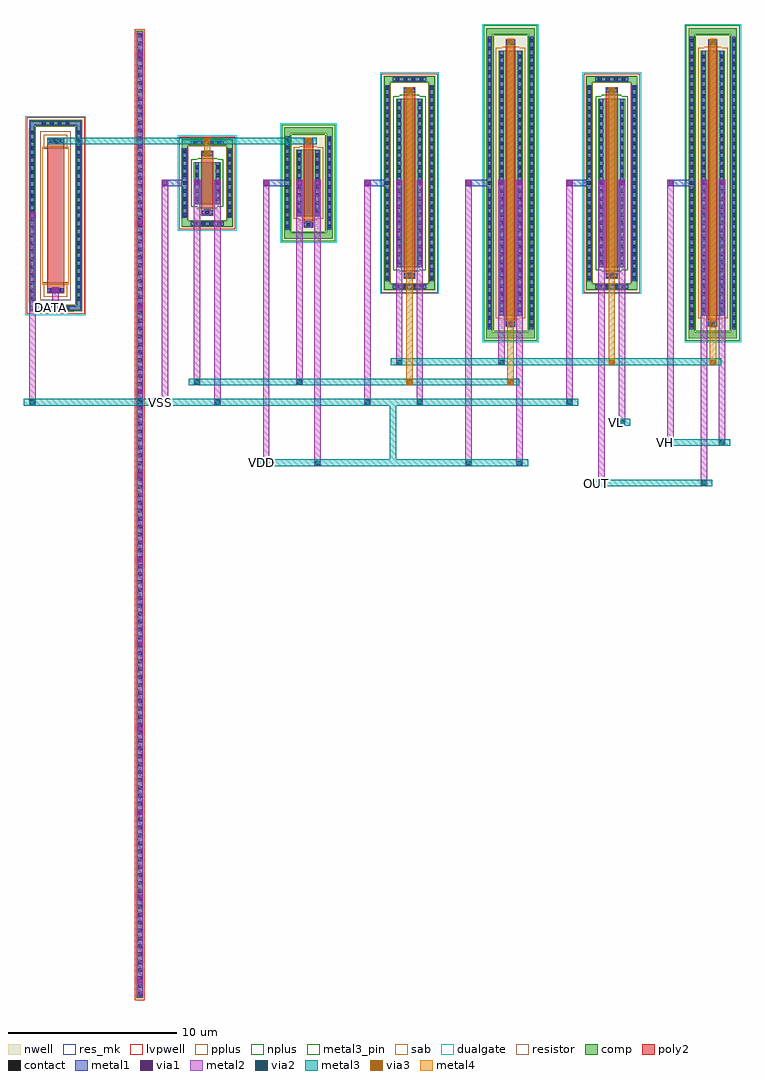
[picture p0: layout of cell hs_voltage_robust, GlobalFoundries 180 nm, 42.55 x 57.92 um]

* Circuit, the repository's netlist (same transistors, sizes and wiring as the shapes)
* NGSPICE file created from hs_voltage_robust.ext - technology: gf180mcuD

.subckt hs_voltage_robust DATA OUT VH VL VSS
X0 VSS a_n1100_4414# a_642_3750# VSS nfet_06v0 ad=1.1p pd=5.88u as=1.1p ps=5.88u w=2.5u l=0.7u
X1 VH a_3042_3000# OUT VH pfet_06v0 ad=6.9168p pd=32.32u as=6.9168p ps=32.32u w=15.72u l=0.55u
X2 VSS a_642_3750# a_3042_3000# VSS pfet_06v0 ad=6.9168p pd=32.32u as=6.9168p ps=32.32u w=15.72u l=0.55u
X3 VL a_3042_3000# OUT VSS nfet_06v0 ad=4.4p pd=20.88u as=4.4p ps=20.88u w=10u l=0.7u
X4 a_n1100_4414# DATA VSS ppolyf_u_1k_6p0 r_width=1u r_length=8u
X5 VSS a_642_3750# a_3042_3000# VSS nfet_06v0 ad=4.4p pd=20.88u as=4.4p ps=20.88u w=10u l=0.7u
X6 VSS a_n1100_4414# a_642_3750# VSS pfet_06v0 ad=1.7292p pd=8.74u as=1.7292p ps=8.74u w=3.93u l=0.55u
.ends

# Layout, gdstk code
import gdstk
lib = gdstk.Library(unit=1e-6, precision=1e-09)
def R(c, l, rs):  # rectangles x0, y0, x1, y1
    for r in rs: c.add(gdstk.rectangle(r[:2], r[2:], *l))
def A(c, l, x, y, w, h, nx, ny, dx, dy):  # array of equal rectangles
    R(c, l, [(x+i*dx, y+j*dy, x+i*dx+w, y+j*dy+h) for i in range(nx) for j in range(ny)])
def P(c, l, *ps):  # polygons
    for p in ps: c.add(gdstk.Polygon(p, *l))
nwell = (21, 0)
comp = (22, 0)
poly2 = (30, 0)
pplus = (31, 0)
nplus = (32, 0)
contact = (33, 0)
metal1 = (34, 0)
via1 = (35, 0)
metal2 = (36, 0)
via2 = (38, 0)
via3 = (40, 0)
metal3 = (42, 0)
metal3_pin = (42, 10)
metal4 = (46, 0)
sab = (49, 0)
dualgate = (55, 0)
resistor = (62, 0)
res_mk = (110, 5)
lvpwell = (204, 0)

hs_voltage_robust = lib.new_cell('hs_voltage_robust')
R(hs_voltage_robust, nwell, [(20.405,10.64,23.595,29.36), (32.405,10.64,35.595,29.36), (8.405,16.535,11.595,23.465)])
R(hs_voltage_robust, comp, [(-0.18,-28.36,0.18,29), (20.565,10.8,23.435,11.16), (32.565,10.8,35.435,11.16), (20.565,11.16,20.925,28.84), (23.075,11.16,23.435,28.84), (32.565,11.16,32.925,28.84), (35.075,11.16,35.435,28.84), (21.285,12.14,22.715,27.86), (33.285,12.14,34.715,27.86), (-6.56,12.4,-3.44,12.76), (-6.56,12.76,-6.2,23.38), (-3.8,12.76,-3.44,23.38), (14.49,13.66,17.51,14.02), (26.49,13.66,29.51,14.02), (14.49,14.02,14.85,25.98), (17.15,14.02,17.51,25.98), (26.49,14.02,26.85,25.98), (29.15,14.02,29.51,25.98), (15.21,15,16.79,25), (27.21,15,28.79,25), (8.565,16.695,11.435,17.055), (8.565,17.055,8.925,22.945), (11.075,17.055,11.435,22.945), (2.49,17.41,5.51,17.77), (2.49,17.77,2.85,22.23), (5.15,17.77,5.51,22.23), (9.285,18.035,10.715,21.965), (3.21,18.75,4.79,21.25), (2.49,22.23,5.51,22.59), (8.565,22.945,11.435,23.305), (-6.56,23.38,-3.44,23.74), (14.49,25.98,17.51,26.34), (26.49,25.98,29.51,26.34), (20.565,28.84,23.435,29.2), (32.565,28.84,35.435,29.2)])
R(hs_voltage_robust, poly2, [(21.725,11.46,22.275,28.54), (33.725,11.46,34.275,28.54), (-5.5,13.46,-4.5,22.68), (15.65,14.32,16.35,25.68), (27.65,14.32,28.35,25.68), (9.725,17.355,10.275,22.645), (3.65,18.07,4.35,21.93)])
R(hs_voltage_robust, pplus, [(-0.21,-28.39,0.21,29.03), (21.495,11.91,22.505,11.98), (33.495,11.91,34.505,11.98), (21.125,11.98,22.875,28.02), (33.125,11.98,34.875,28.02), (-6.075,12.37,-3.925,12.38), (-6.58,12.38,-3.42,12.79), (-6.58,12.79,-6.17,12.885), (-3.83,12.79,-3.42,12.885), (-6.59,12.885,-6.17,23.255), (-3.83,12.885,-3.41,23.255), (-5.7,13.26,-4.3,14.07), (14.975,13.63,17.025,13.64), (26.975,13.63,29.025,13.64), (14.47,13.64,17.53,14.05), (26.47,13.64,29.53,14.05), (14.47,14.05,14.88,14.145), (17.12,14.05,17.53,14.145), (26.47,14.05,26.88,14.145), (29.12,14.05,29.53,14.145), (14.46,14.145,14.88,25.855), (17.12,14.145,17.54,25.855), (26.46,14.145,26.88,25.855), (29.12,14.145,29.54,25.855), (2.975,17.38,5.025,17.39), (2.47,17.39,5.53,17.8), (2.47,17.8,2.88,17.895), (5.12,17.8,5.53,17.895), (9.495,17.805,10.505,17.875), (9.125,17.875,10.875,22.125), (2.46,17.895,2.88,22.105), (5.12,17.895,5.54,22.105), (-5.7,22.07,-4.3,22.88), (2.47,22.105,2.88,22.2), (5.12,22.105,5.53,22.2), (9.495,22.125,10.505,22.195), (2.47,22.2,5.53,22.61), (2.975,22.61,5.025,22.62), (-6.58,23.255,-6.17,23.35), (-3.83,23.255,-3.42,23.35), (-6.58,23.35,-3.42,23.76), (-6.075,23.76,-3.925,23.77), (14.47,25.855,14.88,25.95), (17.12,25.855,17.53,25.95), (26.47,25.855,26.88,25.95), (29.12,25.855,29.53,25.95), (14.47,25.95,17.53,26.36), (26.47,25.95,29.53,26.36), (14.975,26.36,17.025,26.37), (26.975,26.36,29.025,26.37), (21.495,28.02,22.505,28.09), (33.495,28.02,34.505,28.09)])
R(hs_voltage_robust, nplus, [(20.405,10.64,23.595,11.23), (32.405,10.64,35.595,11.23), (20.405,11.23,20.995,28.77), (23.005,11.23,23.595,28.77), (32.405,11.23,32.995,28.77), (35.005,11.23,35.595,28.77), (15.42,14.77,16.58,14.84), (27.42,14.77,28.58,14.84), (15.05,14.84,16.95,25.16), (27.05,14.84,28.95,25.16), (8.405,16.535,11.595,17.125), (8.405,17.125,8.995,22.875), (11.005,17.125,11.595,22.875), (3.42,18.52,4.58,18.59), (3.05,18.59,4.95,21.41), (3.42,21.41,4.58,21.48), (8.405,22.875,11.595,23.465), (15.42,25.16,16.58,25.23), (27.42,25.16,28.58,25.23), (20.405,28.77,23.595,29.36), (32.405,28.77,35.595,29.36)])
A(hs_voltage_robust, contact, -0.11, -28.225, 0.22, 0.22, 1, 122, 0, 0.47)
A(hs_voltage_robust, contact, 20.635, 11.43, 0.22, 0.22, 1, 37, 0, 0.47)
A(hs_voltage_robust, contact, 23.145, 11.43, 0.22, 0.22, 1, 37, 0, 0.47)
A(hs_voltage_robust, contact, 32.635, 11.43, 0.22, 0.22, 1, 37, 0, 0.47)
A(hs_voltage_robust, contact, 35.145, 11.43, 0.22, 0.22, 1, 37, 0, 0.47)
A(hs_voltage_robust, contact, 21.355, 12.37, 0.22, 0.22, 1, 33, 0, 0.47)
A(hs_voltage_robust, contact, 22.425, 12.37, 0.22, 0.22, 1, 33, 0, 0.47)
A(hs_voltage_robust, contact, 33.355, 12.37, 0.22, 0.22, 1, 33, 0, 0.47)
A(hs_voltage_robust, contact, 34.425, 12.37, 0.22, 0.22, 1, 33, 0, 0.47)
A(hs_voltage_robust, contact, -5.815, 12.47, 0.22, 0.22, 4, 2, 0.47, 10.98)
A(hs_voltage_robust, contact, -6.49, 13.025, 0.22, 0.22, 1, 22, 0, 0.47)
A(hs_voltage_robust, contact, -3.73, 13.025, 0.22, 0.22, 1, 22, 0, 0.47)
A(hs_voltage_robust, contact, 15.185, 13.73, 0.22, 0.22, 4, 2, 0.47, 12.32)
A(hs_voltage_robust, contact, 27.185, 13.73, 0.22, 0.22, 4, 2, 0.47, 12.32)
A(hs_voltage_robust, contact, 14.56, 14.25, 0.22, 0.22, 1, 25, 0, 0.47)
A(hs_voltage_robust, contact, 17.22, 14.25, 0.22, 0.22, 1, 25, 0, 0.47)
A(hs_voltage_robust, contact, 26.56, 14.25, 0.22, 0.22, 1, 25, 0, 0.47)
A(hs_voltage_robust, contact, 29.22, 14.25, 0.22, 0.22, 1, 25, 0, 0.47)
A(hs_voltage_robust, contact, 15.28, 15.19, 0.22, 0.22, 1, 21, 0, 0.47)
A(hs_voltage_robust, contact, 16.5, 15.19, 0.22, 0.22, 1, 21, 0, 0.47)
A(hs_voltage_robust, contact, 27.28, 15.19, 0.22, 0.22, 1, 21, 0, 0.47)
A(hs_voltage_robust, contact, 28.5, 15.19, 0.22, 0.22, 1, 21, 0, 0.47)
A(hs_voltage_robust, contact, 8.635, 17.305, 0.22, 0.22, 1, 12, 0, 0.47)
A(hs_voltage_robust, contact, 11.145, 17.305, 0.22, 0.22, 1, 12, 0, 0.47)
A(hs_voltage_robust, contact, 3.185, 17.48, 0.22, 0.22, 4, 2, 0.47, 4.82)
A(hs_voltage_robust, contact, 2.56, 18.01, 0.22, 0.22, 1, 9, 0, 0.47)
A(hs_voltage_robust, contact, 5.22, 18.01, 0.22, 0.22, 1, 9, 0, 0.47)
A(hs_voltage_robust, contact, 9.355, 18.245, 0.22, 0.22, 1, 8, 0, 0.47)
A(hs_voltage_robust, contact, 10.425, 18.245, 0.22, 0.22, 1, 8, 0, 0.47)
A(hs_voltage_robust, contact, 3.28, 18.95, 0.22, 0.22, 1, 5, 0, 0.47)
A(hs_voltage_robust, contact, 4.5, 18.95, 0.22, 0.22, 1, 5, 0, 0.47)
R(hs_voltage_robust, contact, [(21.89,11.53,22.11,11.75), (33.89,11.53,34.11,11.75), (-5.345,13.53,-5.125,13.75), (-4.875,13.53,-4.655,13.75), (15.89,14.39,16.11,14.61), (27.89,14.39,28.11,14.61), (9.89,17.425,10.11,17.645), (3.89,18.14,4.11,18.36), (3.89,21.64,4.11,21.86), (9.89,22.355,10.11,22.575), (-5.345,22.39,-5.125,22.61), (-4.875,22.39,-4.655,22.61), (15.89,25.39,16.11,25.61), (27.89,25.39,28.11,25.61), (21.89,28.25,22.11,28.47), (33.89,28.25,34.11,28.47)])
A(hs_voltage_robust, metal1, 1.31, 19.81, 1.51, 0.38, 3, 1, 12, 0)
A(hs_voltage_robust, metal1, 7.31, 19.81, 1.585, 0.38, 3, 1, 12, 0)
R(hs_voltage_robust, metal1, [(-0.19,-28.295,0.19,28.935), (20.63,11.325,20.86,19.81), (23.14,11.325,23.37,28.675), (32.63,11.325,32.86,19.81), (35.14,11.325,35.37,28.675), (21.81,11.45,22.19,11.525), (33.81,11.45,34.19,11.525), (21.735,11.525,22.265,11.755), (33.735,11.525,34.265,11.755), (21.81,11.755,22.19,11.83), (33.81,11.755,34.19,11.83), (21.35,12.15,21.58,19.81), (22.42,12.15,22.65,19.81), (33.35,12.15,33.58,19.81), (34.42,12.15,34.65,19.81), (-6.495,12.465,-3.505,12.695), (-6.495,12.695,-6.265,17.88), (-3.735,12.695,-3.505,23.445), (-5.19,13.45,-4.81,13.525), (-5.49,13.525,-4.51,13.755), (15.015,13.725,16.985,13.955), (27.015,13.725,28.985,13.955), (-5.19,13.755,-4.81,13.83), (14.555,14.185,14.785,19.81), (17.215,14.185,17.445,25.815), (26.555,14.185,26.785,19.81), (29.215,14.185,29.445,25.815), (15.81,14.31,16.19,14.385), (27.81,14.31,28.19,14.385), (15.66,14.385,16.34,14.615), (27.66,14.385,28.34,14.615), (15.81,14.615,16.19,14.69), (27.81,14.615,28.19,14.69), (15.275,15.01,15.505,19.81), (16.495,15.01,16.725,19.81), (27.275,15.01,27.505,19.81), (28.495,15.01,28.725,19.81), (8.63,17.22,8.86,19.81), (11.14,17.22,11.37,22.78), (9.81,17.345,10.19,17.42), (9.735,17.42,10.265,17.65), (3.015,17.475,4.985,17.705), (9.81,17.65,10.19,17.725), (-6.57,17.88,-6.19,18.26), (2.555,17.935,2.785,19.81), (5.215,17.935,5.445,22.065), (9.35,18.045,9.58,19.81), (10.42,18.045,10.65,19.81), (3.81,18.06,4.19,18.135), (3.66,18.135,4.34,18.365), (-6.495,18.26,-6.265,23.445), (3.81,18.365,4.19,18.44), (3.275,18.76,3.505,19.81), (4.495,18.76,4.725,19.81), (3.2,19.81,3.58,20.19), (4.42,19.81,4.8,20.19), (9.275,19.81,9.655,20.19), (10.345,19.81,10.725,20.19), (15.2,19.81,15.58,20.19), (16.42,19.81,16.8,20.19), (21.275,19.81,21.655,20.19), (22.345,19.81,22.725,20.19), (27.2,19.81,27.58,20.19), (28.42,19.81,28.8,20.19), (33.275,19.81,33.655,20.19), (34.345,19.81,34.725,20.19), (2.555,20.19,2.785,22.065), (3.275,20.19,3.505,21.24), (4.495,20.19,4.725,21.24), (8.63,20.19,8.86,22.78), (9.35,20.19,9.58,21.955), (10.42,20.19,10.65,21.955), (14.555,20.19,14.785,25.815), (15.275,20.19,15.505,24.99), (16.495,20.19,16.725,24.99), (20.63,20.19,20.86,28.675), (21.35,20.19,21.58,27.85), (22.42,20.19,22.65,27.85), (26.555,20.19,26.785,25.815), (27.275,20.19,27.505,24.99), (28.495,20.19,28.725,24.99), (32.63,20.19,32.86,28.675), (33.35,20.19,33.58,27.85), (34.42,20.19,34.65,27.85), (3.81,21.56,4.19,21.635), (3.66,21.635,4.34,21.865), (3.81,21.865,4.19,21.94), (9.81,22.275,10.19,22.35), (3.015,22.295,4.985,22.525), (-5.19,22.31,-4.81,22.385), (9.735,22.35,10.265,22.58), (-5.49,22.385,-4.51,22.615), (9.81,22.58,10.19,22.655), (-5.19,22.615,-4.81,22.69), (-6.495,23.445,-3.505,23.675), (15.81,25.31,16.19,25.385), (27.81,25.31,28.19,25.385), (15.66,25.385,16.34,25.615), (27.66,25.385,28.34,25.615), (15.81,25.615,16.19,25.69), (27.81,25.615,28.19,25.69), (15.015,26.045,16.985,26.275), (27.015,26.045,28.985,26.275), (21.81,28.17,22.19,28.245), (33.81,28.17,34.19,28.245), (21.735,28.245,22.265,28.475), (33.735,28.245,34.265,28.475), (21.81,28.475,22.19,28.55), (33.81,28.475,34.19,28.55)])
A(hs_voltage_robust, via1, -0.13, -27.49, 0.26, 0.26, 1, 12, 0, 5)
R(hs_voltage_robust, via1, [(-5.13,13.51,-4.87,13.77), (-6.51,17.94,-6.25,18.2), (1.37,19.87,1.63,20.13), (3.26,19.87,3.52,20.13), (4.48,19.87,4.74,20.13), (7.37,19.87,7.63,20.13), (9.335,19.87,9.595,20.13), (10.405,19.87,10.665,20.13), (13.37,19.87,13.63,20.13), (15.26,19.87,15.52,20.13), (16.48,19.87,16.74,20.13), (19.37,19.87,19.63,20.13), (21.335,19.87,21.595,20.13), (22.405,19.87,22.665,20.13), (25.37,19.87,25.63,20.13), (27.26,19.87,27.52,20.13), (28.48,19.87,28.74,20.13), (31.37,19.87,31.63,20.13), (33.335,19.87,33.595,20.13), (34.405,19.87,34.665,20.13), (3.87,21.62,4.13,21.88), (9.87,22.335,10.13,22.595), (-5.13,22.37,-4.87,22.63), (15.87,25.37,16.13,25.63), (27.87,25.37,28.13,25.63), (21.87,28.23,22.13,28.49), (33.87,28.23,34.13,28.49)])
R(hs_voltage_robust, metal2, [(-0.19,-28.295,0.19,28.935), (27.2,2.01,27.58,20.19), (33.275,2.01,33.655,20.19), (7.31,3.21,7.69,20.19), (10.345,3.21,10.725,20.19), (19.31,3.21,19.69,20.19), (22.345,3.21,22.725,20.19), (31.31,4.41,31.69,20.19), (34.345,4.41,34.725,20.19), (28.42,5.61,28.8,20.19), (-6.57,6.81,-6.19,18.26), (1.31,6.81,1.69,20.19), (4.42,6.81,4.8,20.19), (13.31,6.81,13.69,20.19), (16.42,6.81,16.8,20.19), (25.31,6.81,25.69,20.19), (3.2,8.01,3.58,20.19), (9.275,8.01,9.655,20.19), (15.2,9.21,15.58,20.19), (21.275,9.21,21.655,20.19), (-5.19,12.45,-4.81,13.83), (3.81,21.56,4.19,21.94), (9.81,22.275,10.19,22.655), (-5.19,22.31,-4.81,22.69), (15.81,25.31,16.19,25.69), (27.81,25.31,28.19,25.69), (21.81,28.17,22.19,28.55), (33.81,28.17,34.19,28.55)])
R(hs_voltage_robust, via2, [(27.26,2.07,27.52,2.33), (33.335,2.07,33.595,2.33), (7.37,3.27,7.63,3.53), (10.405,3.27,10.665,3.53), (19.37,3.27,19.63,3.53), (22.405,3.27,22.665,3.53), (31.37,4.47,31.63,4.73), (34.405,4.47,34.665,4.73), (28.48,5.67,28.74,5.93), (-6.51,6.87,-6.25,7.13), (-0.13,6.87,0.13,7.13), (1.37,6.87,1.63,7.13), (4.48,6.87,4.74,7.13), (13.37,6.87,13.63,7.13), (16.48,6.87,16.74,7.13), (25.37,6.87,25.63,7.13), (3.26,8.07,3.52,8.33), (9.335,8.07,9.595,8.33), (15.26,9.27,15.52,9.53), (21.335,9.27,21.595,9.53), (-5.13,12.51,-4.87,12.77), (3.87,21.62,4.13,21.88), (9.87,22.335,10.13,22.595), (-5.13,22.37,-4.87,22.63), (15.87,25.37,16.13,25.63), (27.87,25.37,28.13,25.63), (21.87,28.23,22.13,28.49), (33.87,28.23,34.13,28.49)])
R(hs_voltage_robust, via3, [(15.87,8.07,16.13,8.33), (21.87,8.07,22.13,8.33), (27.87,9.27,28.13,9.53), (33.87,9.27,34.13,9.53), (3.87,21.62,4.13,21.88), (9.87,22.35,10.13,22.61), (3.87,22.37,4.13,22.63), (15.87,25.37,16.13,25.63), (27.87,25.37,28.13,25.63), (21.87,28.23,22.13,28.49), (33.87,28.23,34.13,28.49)])
R(hs_voltage_robust, metal3, [(26.89,2,33.965,2.4), (31,4.4,35.035,4.8), (28.11,5.6,29.11,6), (2.89,8,22.5,8.4), (14.89,9.2,34.5,9.6), (-5.5,12.44,-4.5,12.84), (3.81,21.56,4.19,21.94), (15.81,25.31,16.19,25.69), (27.81,25.31,28.19,25.69), (21.81,28.17,22.19,28.55), (33.81,28.17,34.19,28.55)])
P(hs_voltage_robust, metal3, [(7,3.2),(7,3.6),(14.82,3.6),(14.82,6.8),(-6.88,6.8),(-6.88,7.2),(26,7.2),(26,6.8),(15.22,6.8),(15.22,3.6),(23.035,3.6),(23.035,3.2)],
  [(9.81,22.275),(9.81,22.3),(-5.5,22.3),(-5.5,22.7),(10.5,22.7),(10.5,22.3),(10.19,22.3),(10.19,22.275)])
R(hs_voltage_robust, metal3_pin, [(26.99,2.1,27.19,2.3), (7.1,3.3,7.3,3.5), (31.1,4.5,31.3,4.7), (28.21,5.7,28.41,5.9), (1.1,6.9,1.3,7.1), (-5.4,12.54,-5.2,12.74)])
R(hs_voltage_robust, metal4, [(15.81,8.01,16.19,25.69), (21.81,8.01,22.19,28.55), (27.81,9.21,28.19,25.69), (33.81,9.21,34.19,28.55), (3.81,21.56,4.19,22.69), (9.81,22.275,10.19,22.69)])
R(hs_voltage_robust, sab, [(-5.78,13.97,-4.22,22.17), (-5.78,14.07,-4.22,22.07)])
R(hs_voltage_robust, dualgate, [(20.325,10.56,23.675,29.44), (32.325,10.56,35.675,29.44), (-6.8,12.16,-3.2,23.98), (14.25,13.42,17.75,26.58), (26.25,13.42,29.75,26.58), (8.325,16.455,11.675,23.545), (2.25,17.17,5.75,22.83)])
R(hs_voltage_robust, resistor, [(-5.9,13.06,-4.1,23.08)])
R(hs_voltage_robust, res_mk, [(-5.78,14.07,-4.22,22.07), (-5.5,14.07,-4.5,22.07)])
R(hs_voltage_robust, lvpwell, [(-0.3,-28.48,0.3,29.12), (-6.72,12.24,-3.28,23.9), (14.33,13.5,17.67,26.5), (26.33,13.5,29.67,26.5), (2.33,17.25,5.67,22.75)])
hs_voltage_robust.add(gdstk.Label('DATA', (-5.3,12.64), layer=42, texttype=10))
hs_voltage_robust.add(gdstk.Label('OUT', (27.09,2.2), layer=42, texttype=10))
hs_voltage_robust.add(gdstk.Label('VDD', (7.2,3.4), layer=42, texttype=10))
hs_voltage_robust.add(gdstk.Label('VH', (31.2,4.6), layer=42, texttype=10))
hs_voltage_robust.add(gdstk.Label('VL', (28.31,5.8), layer=42, texttype=10))
hs_voltage_robust.add(gdstk.Label('VSS', (1.2,7), layer=42, texttype=10))

lib.write_gds('hs_voltage_robust.gds')
